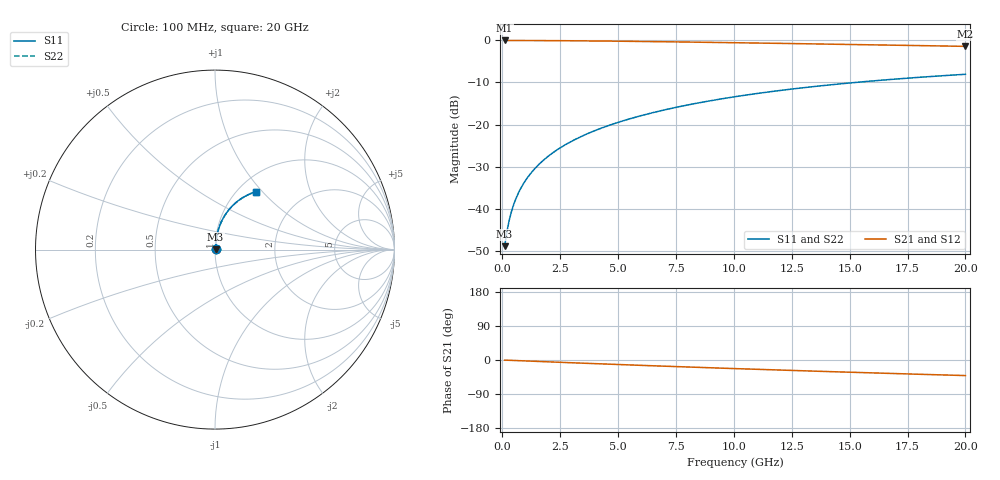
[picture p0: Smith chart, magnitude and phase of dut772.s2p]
! Touchstone file exported from HFSS 2024.1.0
!  File:  C:/UserFiles/LocalFiles/RDL_TSV_Batchsim/temp_RDL_top_772_1779852666.aedt
!  Generated:  11:33:16 AM May 27, 2026
!  Design:  RDL_top
!  Project:  temp_RDL_top_772_1779852666
!  Setup:  Setup1
!  Solution:  Sweep
! Variables:
!  dtsv = 10.80580581um
!  hbump = 3um
!  htsv = 57.33um
!  ldown = 100um
!  lrdl = 588.1um
!  p = 40
!  p1 = 46.15um
!  rhole = 1um
!  t = 450um
!  tdown = 3.915915916um
!  trdl = 4.5um
!  wdown = 15.38538539um
!  wrdl = 17.36um
# GHz S MA R 50.000000
! Terminal data exported
! Port[1] = Box2_T1
! Port[2] = Box2_T2
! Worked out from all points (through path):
!   200 points, 100 MHz to 20 GHz, reference 50 ohm
!   highest |S21| = -0.02 dB at 100 MHz (marker M1); lowest = -1.4 dB at 20 GHz (marker M2)
!   group delay of S21, straight-line fit = 5.67 ps
!   lowest |S11| = -48.9 dB at 100 MHz (marker M3), VSWR 1.01, Z = 50.3 + j0.228 ohm
!   |S11| at or under -10 dB: start of sweep to 15.24 GHz
!   |S22| runs from -48.9 to -8.1 dB; largest |S21 - S12| = 3.2e-15
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0.1  0.003594 39.0  0.9972 -0.3  0.9972 -0.3  0.003594 39.0
! Gamma 0 0 0 0
! Port Impedance 50 0 50 0
0.2  0.005344 57.1  0.9971 -0.5  0.9971 -0.5  0.005344 57.2
0.3  0.007324 65.5  0.9969 -0.8  0.9969 -0.8  0.007325 65.5
0.4  0.009353 70.1  0.9967 -1.0  0.9967 -1.0  0.009354 70.1
0.5  0.01139 73.0  0.9966 -1.2  0.9966 -1.2  0.01139 73.0
0.6  0.01343 75.0  0.9964 -1.5  0.9964 -1.5  0.01343 75.0
0.8  0.01751 77.7  0.9961 -2.0  0.9961 -2.0  0.01751 77.7
1.1  0.02367 80.0  0.9955 -2.7  0.9955 -2.7  0.02367 80.0
1.5  0.03196 81.5  0.9946 -3.7  0.9946 -3.7  0.03196 81.5
1.8  0.03821 82.1  0.9938 -4.4  0.9938 -4.4  0.03821 82.1
2.1  0.04449 82.5  0.9928 -5.1  0.9928 -5.1  0.04449 82.4
2.7  0.05711 82.6  0.9904 -6.6  0.9904 -6.6  0.05711 82.6
3.5  0.07406 82.2  0.9865 -8.5  0.9865 -8.5  0.07406 82.2
4.2  0.08899 81.6  0.9825 -10.1  0.9825 -10.1  0.08899 81.6
5  0.1061 80.7  0.9774 -11.9  0.9774 -11.9  0.1061 80.7
5.9  0.1255 79.5  0.9712 -13.9  0.9712 -13.9  0.1255 79.5
6.8  0.1449 78.2  0.9644 -15.9  0.9644 -15.9  0.1449 78.1
8.4  0.1793 75.5  0.9517 -19.3  0.9517 -19.3  0.1792 75.5
10.1  0.2152 72.5  0.9374 -22.8  0.9374 -22.8  0.2152 72.5
13.4  0.2817 66.5  0.9084 -29.3  0.9084 -29.3  0.2816 66.5
16.7  0.3421 60.5  0.8784 -35.4  0.8784 -35.4  0.342 60.5
20  0.3954 54.7  0.8485 -41.1  0.8485 -41.1  0.3953 54.7
